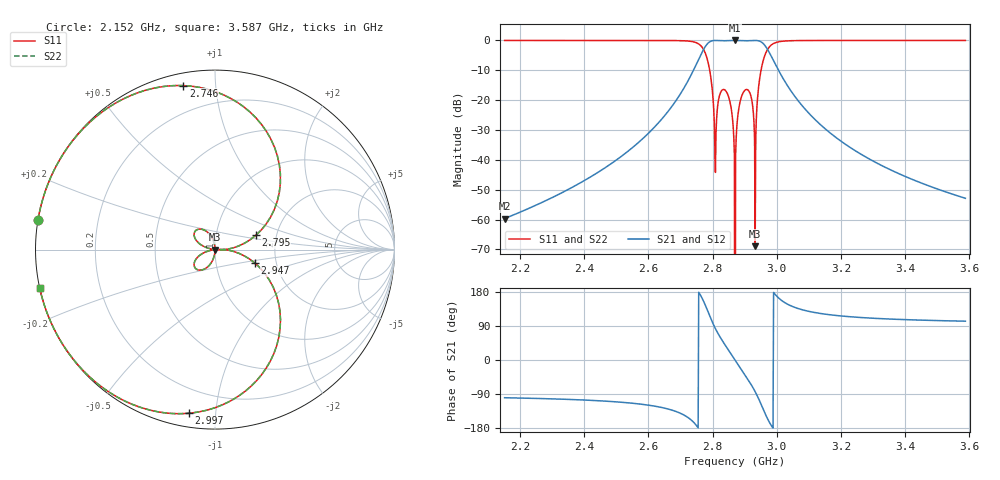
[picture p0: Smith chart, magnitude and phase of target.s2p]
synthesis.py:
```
"""Chebyshev filter synthesis for the inline coupled-cavity SIW bandpass.

Implements the lowpass g-value recursion (Hong & Lancaster, "Microstrip Filters
for RF/Microwave Applications", Ch. 3), maps it to inter-resonator coupling
coefficients k[i,i+1] and external quality factor Qe (sec. 7 of CLAUDE.md),
builds the (N+2) coupling matrix (Cameron, TMTT 2003), and generates the
target S-parameters which are written to ``target.s2p`` for later comparison.

Run:  uv run python synthesis.py
"""

from __future__ import annotations

import math
from dataclasses import dataclass

import numpy as np

from config import SPEC, FilterSpec, out_s2p, out_img


# ---------------------------------------------------------------------------
# 1. Chebyshev lowpass prototype g-values  (Hong & Lancaster, eqs. 3.10-3.12)
# ---------------------------------------------------------------------------
def chebyshev_g(N: int, ripple_db: float) -> np.ndarray:
    """Return g0..g_{N+1} for an equal-ripple (Chebyshev) lowpass prototype.

    Verified against the canonical N=3, 0.1 dB table:
        g1=1.0316, g2=1.1474, g3=1.0316, g4=1.0
    """
    beta = math.log(1.0 / math.tanh(ripple_db / 17.37))   # = ln(coth(LAr/17.37))
    gamma = math.sinh(beta / (2.0 * N))

    a = [0.0] + [math.sin((2 * k - 1) * math.pi / (2 * N)) for k in range(1, N + 1)]
    b = [0.0] + [gamma**2 + math.sin(k * math.pi / N) ** 2 for k in range(1, N + 1)]

    g = [0.0] * (N + 2)
    g[0] = 1.0
    g[1] = 2.0 * a[1] / gamma
    for k in range(2, N + 1):
        g[k] = (4.0 * a[k - 1] * a[k]) / (b[k - 1] * g[k - 1])
    # Load termination: 1 for odd N, coth^2(beta/4) for even N.
    g[N + 1] = 1.0 if N % 2 == 1 else (1.0 / math.tanh(beta / 4.0)) ** 2
    return np.array(g)


# ---------------------------------------------------------------------------
# 2. Coupling coefficients and external Q  (CLAUDE.md sec. 7)
# ---------------------------------------------------------------------------
def coupling_coeffs(g: np.ndarray, FBW: float) -> np.ndarray:
    """Inter-resonator coupling k[i,i+1] = FBW / sqrt(g_i*g_{i+1}), i=1..N-1.

    These are *frequency-independent* (depend only on g-values and FBW).
    """
    N = len(g) - 2
    return np.array([FBW / math.sqrt(g[i] * g[i + 1]) for i in range(1, N)])


def external_q(g: np.ndarray, FBW: float) -> tuple[float, float]:
    """Input/output external quality factors (Qe1, QeN).

    Qe = g0*g1 / FBW  on the input side; symmetric structure -> output uses
    g_N*g_{N+1} / FBW.
    """
    N = len(g) - 2
    qe_in = g[0] * g[1] / FBW
    qe_out = g[N] * g[N + 1] / FBW
    return qe_in, qe_out


# ---------------------------------------------------------------------------
# 3. (N+2) coupling matrix  (Cameron, TMTT 2003)
# ---------------------------------------------------------------------------
def coupling_matrix(g: np.ndarray, FBW: float) -> np.ndarray:
    """Build the normalized (N+2)x(N+2) coupling matrix M.

    Index 0 = source S, indices 1..N = resonators, index N+1 = load L.
    Normalized entries:
        M[S,1]   = 1/sqrt(g0*g1)
        M[i,i+1] = 1/sqrt(g_i*g_{i+1})
        M[N,L]   = 1/sqrt(g_N*g_{N+1})
    (Physical k[i,i+1] = FBW * M[i,i+1]; Qe relates via M_S1 = 1/sqrt(qe1).)
    """
    N = len(g) - 2
    size = N + 2
    M = np.zeros((size, size))

    ms1 = 1.0 / math.sqrt(g[0] * g[1])
    M[0, 1] = M[1, 0] = ms1
    for i in range(1, N):
        m = 1.0 / math.sqrt(g[i] * g[i + 1])
        M[i, i + 1] = M[i + 1, i] = m
    mnl = 1.0 / math.sqrt(g[N] * g[N + 1])
    M[N, N + 1] = M[N + 1, N] = mnl
    return M


def sparams_from_matrix(M: np.ndarray, FBW: float, f0: float,
                        freqs: np.ndarray) -> tuple[np.ndarray, np.ndarray]:
    """Evaluate S11, S21 from the (N+2) coupling matrix over ``freqs`` [Hz].

    Uses A = M + Omega*W - j*R  with the bandpass frequency mapping
        Omega = (1/FBW) * (f/f0 - f0/f).
    S11 = 1 + 2j [A^-1]_{S,S},  S21 = -2j [A^-1]_{L,S}.
    """
    size = M.shape[0]
    N = size - 2

    W = np.eye(size)
    W[0, 0] = 0.0
    W[size - 1, size - 1] = 0.0

    R = np.zeros((size, size))
    R[0, 0] = 1.0
    R[size - 1, size - 1] = 1.0

    s11 = np.empty(freqs.shape, dtype=complex)
    s21 = np.empty(freqs.shape, dtype=complex)
    for idx, f in enumerate(freqs):
        Omega = (1.0 / FBW) * (f / f0 - f0 / f)
        A = M + Omega * W - 1j * R
        Ainv = np.linalg.inv(A)
        s11[idx] = 1.0 + 2j * Ainv[0, 0]
        s21[idx] = -2j * Ainv[size - 1, 0]
    return s11, s21


# ---------------------------------------------------------------------------
# 4. High-level synthesis result + s2p export
# ---------------------------------------------------------------------------
@dataclass
class SynthesisResult:
    spec: FilterSpec
    g: np.ndarray
    k: np.ndarray
    qe_in: float
    qe_out: float
    M: np.ndarray


def synthesize(spec: FilterSpec = SPEC) -> SynthesisResult:
    g = chebyshev_g(spec.N, spec.ripple_db)
    k = coupling_coeffs(g, spec.FBW)
    qe_in, qe_out = external_q(g, spec.FBW)
    M = coupling_matrix(g, spec.FBW)
    return SynthesisResult(spec=spec, g=g, k=k, qe_in=qe_in, qe_out=qe_out, M=M)


def write_target_s2p(res: SynthesisResult, path: str | None = None,
                     span: float = 0.25, n_points: int = 801):
    """Generate the ideal target response and save it as a Touchstone file.

    ``span`` is the fractional frequency span around f0 (e.g. 0.25 -> +-25%).
    Requires scikit-rf.
    """
    import skrf as rf

    if path is None:
        path = out_s2p("target.s2p")
    spec = res.spec
    f = np.linspace(spec.f0 * (1 - span), spec.f0 * (1 + span), n_points)
    s11, s21 = sparams_from_matrix(res.M, spec.FBW, spec.f0, f)

    s = np.zeros((n_points, 2, 2), dtype=complex)
    s[:, 0, 0] = s11
    s[:, 1, 0] = s21
    s[:, 0, 1] = s21    # reciprocal
    s[:, 1, 1] = s11    # symmetric
    ntwk = rf.Network(frequency=rf.Frequency.from_f(f, unit="Hz"),
                      s=s, z0=50.0, name="siw_target")
    ntwk.write_touchstone(path, write_z0=True)
    return ntwk, f, s11, s21


if __name__ == "__main__":
    res = synthesize(SPEC)
    spec = res.spec

    print(f"=== Chebyshev synthesis: N={spec.N}, ripple={spec.ripple_db} dB, "
          f"FBW={spec.FBW*100:.1f}% @ {spec.f0/1e9:.3f} GHz ===\n")

    print("g-values (g0..g_{N+1}):")
    for i, gi in enumerate(res.g):
        print(f"  g{i} = {gi:.4f}")
    print("  (CLAUDE.md check N=3,0.1dB: g1=1.0316 g2=1.1474 g3=1.0316 g4=1.0)\n")

    print("Inter-resonator coupling coefficients:")
    for i, ki in enumerate(res.k, start=1):
        print(f"  k{i}{i+1} = {ki:.4f}")
    print("  (CLAUDE.md check: k12=k23 ~ 0.046)\n")

    print(f"External Q:")
    print(f"  Qe_in  = {res.qe_in:.4f}")
    print(f"  Qe_out = {res.qe_out:.4f}")
    print("  (CLAUDE.md check: Qe ~ 20.6)\n")

    print("(N+2) coupling matrix M [S,1..N,L]:")
    with np.printoptions(precision=4, suppress=True):
        print(res.M)

    ntwk, f, s11, s21 = write_target_s2p(res)
    print(f"\nWrote {out_s2p('target.s2p')}")

    # Quick passband sanity check
    fmask = (f >= spec.f1) & (f <= spec.f2)
    # floor magnitudes so reflection zeros (|S|=0) don't blow up log10
    s21_db = 20 * np.log10(np.maximum(np.abs(s21), 1e-12))
    s11_db = 20 * np.log10(np.maximum(np.abs(s11), 1e-12))
    print(f"In-band |S21| min = {s21_db[fmask].min():.3f} dB "
          f"(ideal lossless ~0 dB)")
    print(f"In-band |S11| max = {s11_db[fmask].max():.3f} dB "
          f"(return loss; ripple {spec.ripple_db} dB -> RL ~ "
          f"{-10*math.log10(1-10**(-spec.ripple_db/10)):.1f} dB)")

    # Optional plot
    try:
        import matplotlib
        matplotlib.use("Agg")
        import matplotlib.pyplot as plt
        fig, ax = plt.subplots(figsize=(8, 5))
        ax.plot(f / 1e9, s21_db, label="|S21|")
        ax.plot(f / 1e9, s11_db, label="|S11|")
        ax.axvspan(spec.f1 / 1e9, spec.f2 / 1e9, color="green", alpha=0.1,
                   label="passband")
        ax.set_xlabel("Frequency [GHz]")
        ax.set_ylabel("Magnitude [dB]")
        ax.set_ylim(-60, 2)
        ax.set_title(f"SIW target response — N={spec.N}, {spec.f0/1e9:.3f} GHz")
        ax.grid(True, alpha=0.3)
        ax.legend()
        fig.tight_layout()
        fig.savefig(out_img("target_response.png"), dpi=120)
        print(f"Wrote {out_img('target_response.png')}")
    except Exception as e:
        print(f"(plot skipped: {e})")
```
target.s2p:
! Created with skrf 1.12.0 (http://scikit-rf.org).
! Data is not renormalized
! S-parameter uses the power definition
# Hz S RI R
!freq ReS11 ImS11 ReS21 ImS21 ReS12 ImS12 ReS22 ImS22
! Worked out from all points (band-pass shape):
!   801 points, 2.152 GHz to 3.587 GHz, reference per port
!   highest |S21| = 0.00 dB at 2.87 GHz (marker M1); lowest = -59.7 dB at 2.152 GHz (marker M2)
!   |S21| within 3 dB of the highest: 2.772 GHz to 2.971 GHz (199.2 MHz wide, 6.94 % of centre)
!   lowest |S11| = -68.9 dB at 2.933 GHz (marker M3), VSWR 1.00
!   |S11| at or under -10 dB: 2.791 GHz to 2.951 GHz (159.8 MHz wide, 5.57 % of centre)
!   |S22| runs from - to 0.0 dB; largest |S21 - S12| = 0
!   S11 on the Smith chart (normalised r, x): 2.152 GHz: 0.00, +0.08; 2.746 GHz: 0.06, +0.82; 2.795 GHz: 1.56, +0.26; 2.947 GHz: 1.55, -0.25; 2.997 GHz: 0.07, -0.85; 3.587 GHz: 0.00, -0.11
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2.1525e9  -0.9861 0.1661  -0.000172 -0.00102  -0.000172 -0.00102  -0.9861 0.1661
! Port Impedance 50.00000000000000 0.00000000000000 50.00000000000000 0.00000000000000
2.746231e9  -0.1767 0.9137  -0.3593 -0.0695  -0.3593 -0.0695  -0.1767 0.9137
2.794662e9  0.2276 0.0797  -0.3206 0.916  -0.3206 0.916  0.2276 0.0797
2.809012e9  -0.0061 0.000776  0.1261 0.992  0.1261 0.992  -0.0061 0.000776
2.848475e9  -0.0558 0.1066  0.8797 0.46  0.8797 0.46  -0.0558 0.1066
2.87e9  0 0  1 -0  1 -0  0 0
2.900494e9  -0.0913 -0.1138  0.7717 -0.6191  0.7717 -0.6191  -0.0913 -0.1138
2.932781e9  -0.000355 -4.04e-05  0.1131 -0.9936  0.1131 -0.9936  -0.000355 -4.04e-05
2.947131e9  0.2237 -0.0763  -0.3137 -0.9196  -0.3137 -0.9196  0.2237 -0.0763
2.997356e9  -0.1462 -0.9118  -0.379 0.0608  -0.379 0.0608  -0.1462 -0.9118
3.5875e9  -0.9766 -0.2152  -0.000488 0.00221  -0.000488 0.00221  -0.9766 -0.2152
